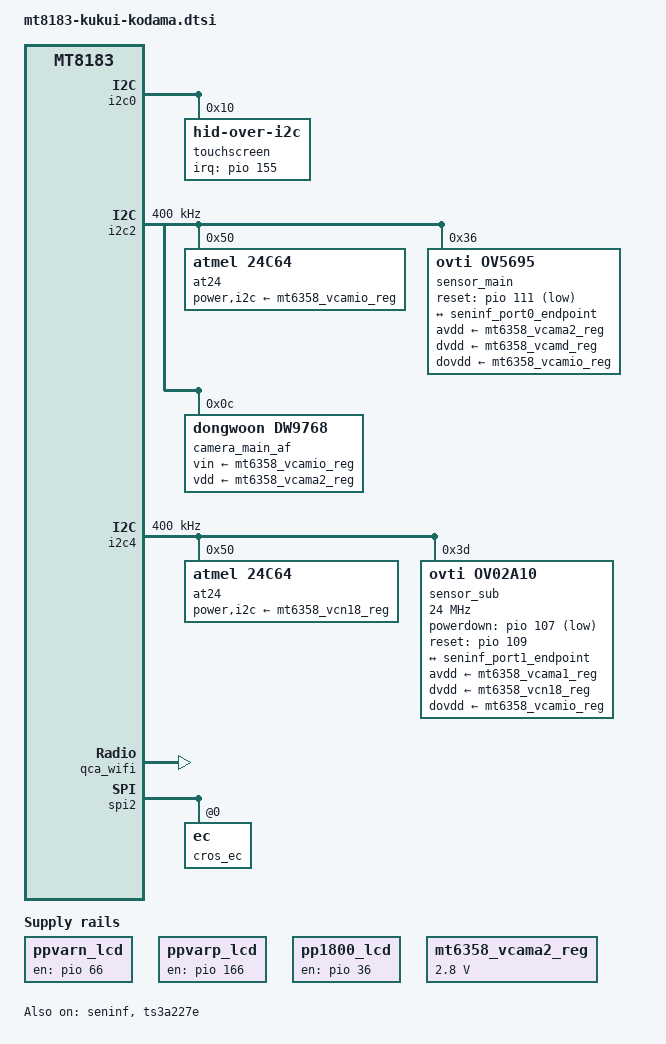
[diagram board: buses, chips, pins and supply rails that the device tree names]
// SPDX-License-Identifier: (GPL-2.0 OR MIT)
/*
 * Copyright 2019 Bitland Information Technology Co.LTD
 */

/dts-v1/;
#include "mt8183-kukui.dtsi"

/ {
	ppvarn_lcd: ppvarn-lcd {
		compatible = "regulator-fixed";
		regulator-name = "ppvarn_lcd";
		pinctrl-names = "default";
		pinctrl-0 = <&ppvarn_lcd_en>;

		enable-active-high;

		gpio = <&pio 66 GPIO_ACTIVE_HIGH>;
	};

	ppvarp_lcd: ppvarp-lcd {
		compatible = "regulator-fixed";
		regulator-name = "ppvarp_lcd";
		pinctrl-names = "default";
		pinctrl-0 = <&ppvarp_lcd_en>;

		enable-active-high;

		gpio = <&pio 166 GPIO_ACTIVE_HIGH>;
	};

	pp1800_lcd: pp1800-lcd {
		compatible = "regulator-fixed";
		regulator-name = "pp1800_lcd";
		pinctrl-names = "default";
		pinctrl-0 = <&pp1800_lcd_en>;

		enable-active-high;

		gpio = <&pio 36 GPIO_ACTIVE_HIGH>;
	};
};

&camera_pins_cam0 {
	pins_reset {
		pinmux = <PINMUX_GPIO111__FUNC_GPIO111>;
		output-low;
	};
};

&camera_pins_cam1 {
	pins_powerdown {
		pinmux = <PINMUX_GPIO107__FUNC_GPIO107>;
		output-high;
	};

	pins_reset {
		pinmux = <PINMUX_GPIO109__FUNC_GPIO109>;
		output-low;
	};
};

&cpu_thermal {
	sustainable-power = <4500>; /* milliwatts */
};

&i2c0 {
	status = "okay";

	touchscreen: touchscreen@10 {
		compatible = "hid-over-i2c";
		reg = <0x10>;
		interrupt-parent = <&pio>;
		interrupts = <155 IRQ_TYPE_LEVEL_LOW>;
		pinctrl-names = "default";
		pinctrl-0 = <&touch_default>;

		post-power-on-delay-ms = <10>;
		hid-descr-addr = <0x0001>;
	};
};

&i2c2 {
	pinctrl-names = "default";
	pinctrl-0 = <&i2c2_pins>;
	status = "okay";
	clock-frequency = <400000>;

	at24@50 {
		compatible = "atmel,24c64";
		reg = <0x50>;
		pagesize = <64>;
		power-supply = <&mt6358_vcamio_reg>;
		i2c-supply = <&mt6358_vcamio_reg>;
	};

	sensor_main: sensor_main {
		compatible = "ovti,ov5695";
		reg = <0x36>;

		clocks = <&topckgen CLK_TOP_MUX_CAMTG>,
			 <&topckgen CLK_TOP_UNIVP_192M_D8>;
		clock-names = "xvclk", "freq_mux";

		assigned-clocks = <&topckgen CLK_TOP_MUX_CAMTG>,
				  <&topckgen CLK_TOP_UNIVP_192M_D8>;
		assigned-clock-parents = <&topckgen CLK_TOP_UNIVP_192M_D8>;
		assigned-clock-rates = <0>, <24000000>;

		reset-gpios = <&pio 111 1>;
		pinctrl-names = "default";
		pinctrl-0 = <&camera_pins_cam0>;

		avdd-supply = <&mt6358_vcama2_reg>;
		dvdd-supply = <&mt6358_vcamd_reg>;
		dovdd-supply = <&mt6358_vcamio_reg>;

		lens-focus = <&camera_main_af>;

		port {
			ov5695_endpoint: endpoint {
				data-lanes = <1 3>;
				remote-endpoint = <&seninf_port0_endpoint>;
			};
		};
	};

	camera_main_af: camera_main_af {
		compatible = "dongwoon,dw9768";
		reg = <0x0c>;

		vin-supply = <&mt6358_vcamio_reg>;
		vdd-supply = <&mt6358_vcama2_reg>;
	};
};

&i2c4 {
	pinctrl-names = "default";
	pinctrl-0 = <&i2c4_pins>;
	status = "okay";
	clock-frequency = <400000>;

	at24@50 {
		compatible = "atmel,24c64";
		reg = <0x50>;
		pagesize = <64>;
		power-supply = <&mt6358_vcn18_reg>;
		i2c-supply = <&mt6358_vcn18_reg>;
	};

	sensor_sub: sensor_sub {
		status = "okay";
		compatible = "ovti,ov02a10";
		reg = <0x3d>;

		clocks = <&topckgen CLK_TOP_MUX_CAMTG2>,
			 <&topckgen CLK_TOP_UNIVP_192M_D8>;
		clock-names = "eclk", "freq_mux";
		clock-frequency = <24000000>;
		rotation = <180>;
		ovti,mipi-tx-speed = <4>;

		assigned-clocks = <&topckgen CLK_TOP_MUX_CAMTG2>,
				  <&topckgen CLK_TOP_UNIVP_192M_D8>;
		assigned-clock-parents = <&topckgen CLK_TOP_UNIVP_192M_D8>;
		assigned-clock-rates = <0>, <24000000>;

		powerdown-gpios = <&pio 107 1>;
		reset-gpios = <&pio 109 0>;
		pinctrl-names = "default";
		pinctrl-0 = <&camera_pins_cam1>;

		avdd-supply = <&mt6358_vcama1_reg>;
		dvdd-supply = <&mt6358_vcn18_reg>;
		dovdd-supply = <&mt6358_vcamio_reg>;

		port {
			ov02a10_endpoint: endpoint {
				data-lanes = <1>;
				link-frequencies = /bits/ 64 <390000000>;
				remote-endpoint = <&seninf_port1_endpoint>;
			};
		};
	};
};

&mt6358_vcama2_reg {
	regulator-min-microvolt = <2800000>;
	regulator-max-microvolt = <2800000>;
};

&pio {
	/* 192 lines */
	gpio-line-names =
		"SPI_AP_EC_CS_L",
		"SPI_AP_EC_MOSI",
		"SPI_AP_EC_CLK",
		"I2S3_DO",
		"USB_PD_INT_ODL",
		"",
		"",
		"",
		"",
		"IT6505_HPD_L",
		"I2S3_TDM_D3",
		"SOC_I2C6_1V8_SCL",
		"SOC_I2C6_1V8_SDA",
		"DPI_D0",
		"DPI_D1",
		"DPI_D2",
		"DPI_D3",
		"DPI_D4",
		"DPI_D5",
		"DPI_D6",
		"DPI_D7",
		"DPI_D8",
		"DPI_D9",
		"DPI_D10",
		"DPI_D11",
		"DPI_HSYNC",
		"DPI_VSYNC",
		"DPI_DE",
		"DPI_CK",
		"AP_MSDC1_CLK",
		"AP_MSDC1_DAT3",
		"AP_MSDC1_CMD",
		"AP_MSDC1_DAT0",
		"AP_MSDC1_DAT2",
		"AP_MSDC1_DAT1",
		"",
		"",
		"",
		"",
		"",
		"",
		"OTG_EN",
		"DRVBUS",
		"DISP_PWM",
		"DSI_TE",
		"LCM_RST_1V8",
		"AP_CTS_WIFI_RTS",
		"AP_RTS_WIFI_CTS",
		"SOC_I2C5_1V8_SCL",
		"SOC_I2C5_1V8_SDA",
		"SOC_I2C3_1V8_SCL",
		"SOC_I2C3_1V8_SDA",
		"",
		"",
		"",
		"",
		"",
		"",
		"",
		"",
		"",
		"",
		"",
		"",
		"",
		"",
		"",
		"",
		"",
		"",
		"",
		"",
		"",
		"",
		"",
		"",
		"",
		"",
		"",
		"",
		"",
		"SOC_I2C1_1V8_SDA",
		"SOC_I2C0_1V8_SDA",
		"SOC_I2C0_1V8_SCL",
		"SOC_I2C1_1V8_SCL",
		"AP_SPI_H1_MISO",
		"AP_SPI_H1_CS_L",
		"AP_SPI_H1_MOSI",
		"AP_SPI_H1_CLK",
		"I2S5_BCK",
		"I2S5_LRCK",
		"I2S5_DO",
		"BOOTBLOCK_EN_L",
		"MT8183_KPCOL0",
		"SPI_AP_EC_MISO",
		"UART_DBG_TX_AP_RX",
		"UART_AP_TX_DBG_RX",
		"I2S2_MCK",
		"I2S2_BCK",
		"CLK_5M_WCAM",
		"CLK_2M_UCAM",
		"I2S2_LRCK",
		"I2S2_DI",
		"SOC_I2C2_1V8_SCL",
		"SOC_I2C2_1V8_SDA",
		"SOC_I2C4_1V8_SCL",
		"SOC_I2C4_1V8_SDA",
		"",
		"SCL8",
		"SDA8",
		"FCAM_PWDN_L",
		"",
		"",
		"",
		"",
		"",
		"",
		"",
		"",
		"",
		"",
		"",
		"",
		"",
		"",
		"",
		"",
		"",
		"",
		"",
		"",
		"",
		"",
		"",
		"",
		"",
		"I2S_PMIC",
		"I2S_PMIC",
		"I2S_PMIC",
		"I2S_PMIC",
		"I2S_PMIC",
		"I2S_PMIC",
		"I2S_PMIC",
		"I2S_PMIC",
		"",
		"",
		"",
		"",
		"",
		"",
		/*
		 * AP_FLASH_WP_L is crossystem ABI. Rev1 schematics
		 * call it BIOS_FLASH_WP_R_L.
		 */
		"AP_FLASH_WP_L",
		"EC_AP_INT_ODL",
		"IT6505_INT_ODL",
		"H1_INT_OD_L",
		"",
		"",
		"",
		"",
		"",
		"",
		"",
		"AP_SPI_FLASH_MISO",
		"AP_SPI_FLASH_CS_L",
		"AP_SPI_FLASH_MOSI",
		"AP_SPI_FLASH_CLK",
		"DA7219_IRQ",
		"",
		"",
		"",
		"",
		"",
		"",
		"",
		"",
		"",
		"",
		"",
		"",
		"",
		"",
		"",
		"",
		"",
		"",
		"",
		"",
		"",
		"",
		"",
		"",
		"",
		"";

	ppvarp_lcd_en: ppvarp-lcd-en {
		pins1 {
			pinmux = <PINMUX_GPIO66__FUNC_GPIO66>;
			output-low;
		};
	};

	ppvarn_lcd_en: ppvarn-lcd-en {
		pins1 {
			pinmux = <PINMUX_GPIO166__FUNC_GPIO166>;
			output-low;
		};
	};

	pp1800_lcd_en: pp1800-lcd-en {
		pins1 {
			pinmux = <PINMUX_GPIO36__FUNC_GPIO36>;
			output-low;
		};
	};

	touch_default: touchdefault {
		pin_irq {
			pinmux = <PINMUX_GPIO155__FUNC_GPIO155>;
			input-enable;
			bias-pull-up;
		};

		touch_pin_reset: pin_reset {
			pinmux = <PINMUX_GPIO156__FUNC_GPIO156>;

			/*
			 * The touchscreen driver doesn't currently support driving
			 * this reset line.  By specifying output-high here
			 * we're relying on the fact that this pin has a default
			 * pulldown at boot (which makes sure the controller was in
			 * reset if it was powered) and then we set it high here
			 * to take it out of reset.  Better would be if the touchscreen
			 * driver could control this and we could remove
			 * "output-high" here.
			 */
			output-high;
		};
	};
};

&qca_wifi {
	qcom,ath10k-calibration-variant = "GO_KODAMA";
};

&seninf {
	status = "okay";

	ports {
		port@0 {
			reg = <0>;

			seninf_port0_endpoint: endpoint {
				data-lanes = <1 3>;
				remote-endpoint = <&ov5695_endpoint>;
			};
		};

		port@1 {
			reg = <1>;

			seninf_port1_endpoint: endpoint {
				data-lanes = <1>;
				link-frequencies = /bits/ 64 <390000000>;
				remote-endpoint = <&ov02a10_endpoint>;
			};
		};
	};
};

&sound {
	mediatek,headset-codec = <&ts3a227e>;
};

&spi2 {
	cros_ec: ec@0 {
		i2c_tunnel: i2c-tunnel {
			google,remote-bus = <2>;
		};
	};
};

&ts3a227e {
	status = "okay";
};
